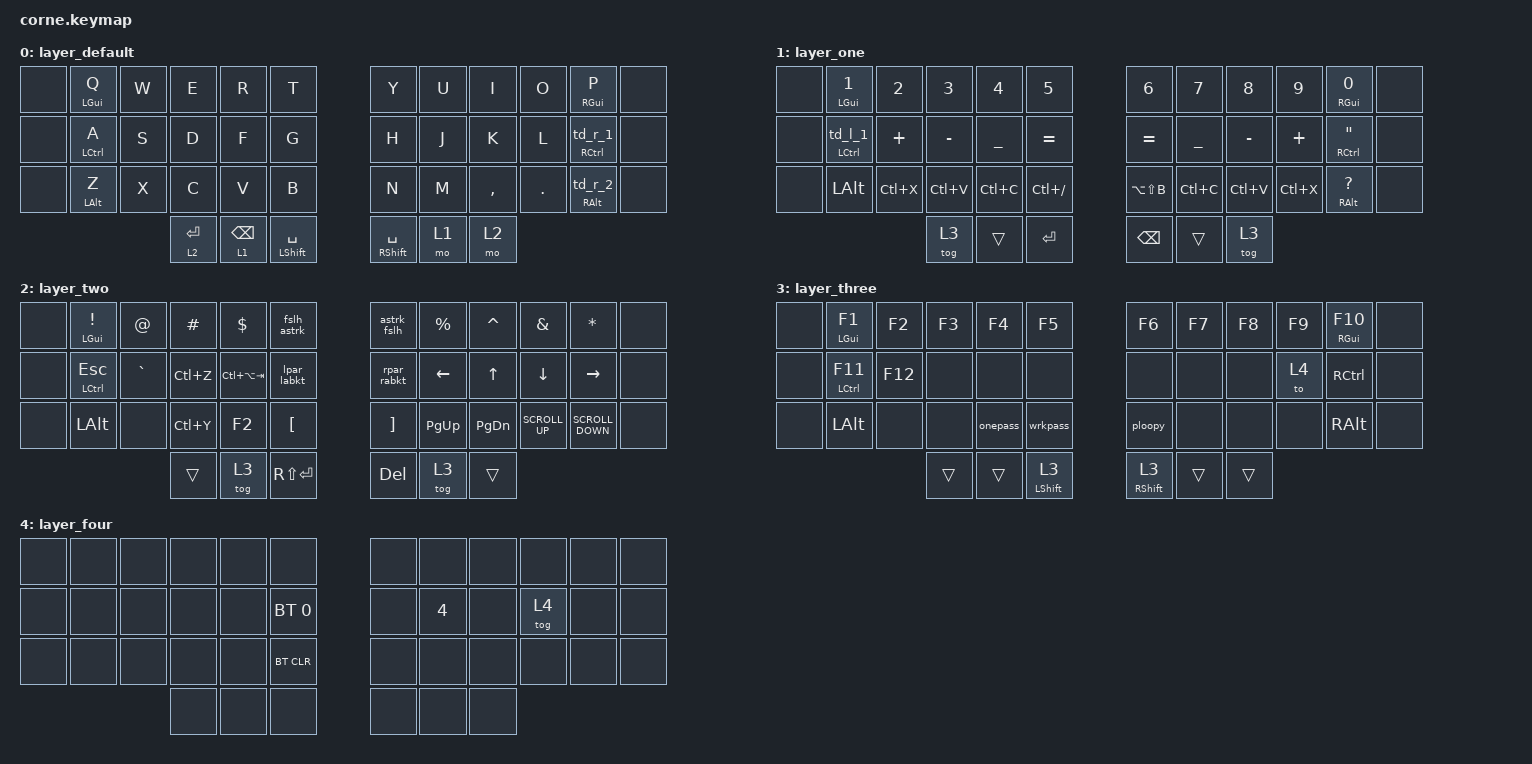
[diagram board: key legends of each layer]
/*
 * Copyright (c) 2020 The ZMK Contributors
 *
 * SPDX-License-Identifier: MIT
 */

#include <behaviors.dtsi>
#include <dt-bindings/zmk/keys.h>
#include <dt-bindings/zmk/bt.h>
// #include <dt-bindings/zmk/mouse.h>  // ADD TO KEYMAP (layer_one): &mkp LCLK   &mkp RCLK

// // Layer aliases
// #define DEF 0
// #define ONE 1
// #define TWO 2
// #define THR 3
// #define FOR 4

// // ?Key position groups?
// #define KEYS_L 0 1 2 3 4 5 12 13 14 15 16 17 24 25 26 27 28 29
// #define KEYS_R 6 7 8 9 10 11 18 19 20 21 22 23 30 31 32 33 34 35
// #define THUMBS_L 36 37 38
// #define THUMBS_R 39 40 41

#define tapping_term_xfast 185
#define tapping_term_fast 205
#define tapping_term_slow 215
#define quick_tap_term 200

&mt {
    tapping-term-ms = <tapping_term_fast>;
    flavor = "balanced";//"tap-preferred";
};

/ {
    behaviors {
        clt: custom_layer_tap {
            compatible = "zmk,behavior-hold-tap";
            label = "MO_KP";
            #binding-cells = <2>;
            tapping-term-ms = <tapping_term_fast>;//<205>;
            quick-tap-ms = <quick_tap_term>;//<200>;
            flavor = "hold-preferred";
            bindings = <&mo>, <&kp>;
            // hold-trigger-key-positions = <KEYS THUMBS>;
            // hold-trigger-on-release;
            // global-quick-tap;
        };
        // &clt 2 RET   // LT(2, KC_ENT)  // allow quick-tap hold for repeat  |  Immediately select the hold action when another key is pressed. (get_hold_on_other_key_press = true)
        // &clt 1 BSPC   // LT(1, KC_BSPC)  // allow quick-tap hold for repeat  |  Immediately select the hold action when another key is pressed. (get_hold_on_other_key_press = true)


        aml: alpha_mods_l {
            compatible = "zmk,behavior-hold-tap";
            label = "ALPHA_MT_L";
            #binding-cells = <2>;
            tapping-term-ms = <tapping_term_fast>;//<215>;//<250>;
            quick-tap-ms = <quick_tap_term>;//<200>;//<150>;
            flavor = "balanced";
            bindings = <&kp>, <&kp>;
            // hold-trigger-key-positions = <KEYS_R THUMBS_R>;
            // hold-trigger-on-release;
            // global-quick-tap;  // ???????????????
        };
        amr: alpha_mods_r {
            compatible = "zmk,behavior-hold-tap";
            label = "ALPHA_MT_R";
            #binding-cells = <2>;
            tapping-term-ms = <tapping_term_fast>;//<215>;//<250>;
            quick-tap-ms = <quick_tap_term>;//<200>;//<150>;
            flavor = "balanced";
            bindings = <&kp>, <&kp>;
            // hold-trigger-key-positions = <KEYS_L THUMBS_L>;
            // hold-trigger-on-release;
            // global-quick-tap;  // ???????????????
        };
        // &aml LCTRL A   // MT(MOD_LCTL, KC_A)  // ?  |  Do not select the hold action when another key is pressed. (get_hold_on_other_key_press = false)
        // &aml LALT Z   // MT(MOD_LALT, KC_Z)  // ?  |  Do not select the hold action when another key is pressed. (get_hold_on_other_key_press = false)
        // &aml LCTRL ESC   // MT(MOD_LCTL, KC_ESC)  // ?  |  Do not select the hold action when another key is pressed. (get_hold_on_other_key_press = false)
        // &aml LCTRL F11   // MT(MOD_LCTL, KC_F11)  // ?  |  Do not select the hold action when another key is pressed. (get_hold_on_other_key_press = false)
        // &amr RCTRL SEMI   // MT(MOD_RCTL, KC_SCLN)  // ?  |  Do not select the hold action when another key is pressed. (get_hold_on_other_key_press = false)
        // &amr RGUI BSLH   // MT(MOD_RGUI, KC_BSLS)  // ?  |  Do not select the hold action when another key is pressed. (get_hold_on_other_key_press = false)


        // td_mt_aml: tap_dance_mod_tap_aml {
        //     compatible = "zmk,behavior-tap-dance";
        //     label = "TAP_DANCE_MOD_TAP_AML";
        //     #binding-cells = <0>;
        //     tapping-term-ms = <tapping_term_fast>;//<200>;
        //     bindings = <&aml>, <&kp>;//<&mt LSHIFT CAPSLOCK>, <&kp LCTRL>;
        // };
        // td_mt_amr: tap_dance_mod_tap_amr {
        //     compatible = "zmk,behavior-tap-dance";
        //     label = "TAP_DANCE_MOD_TAP_AMR";
        //     #binding-cells = <0>;
        //     tapping-term-ms = <tapping_term_fast>;//<200>;
        //     bindings = <&amr>, <&kp>;//<&mt LSHIFT CAPSLOCK>, <&kp LCTRL>;
        // };

        // td_aml_1: tap_dance_aml_lctrl_tab_caps {
        //     compatible = "zmk,behavior-tap-dance";
        //     label = "TAP_DANCE_AML_LCTRL_TAB_CAPS";
        //     #binding-cells = <0>;
        //     tapping-term-ms = <tapping_term_xfast>;
        //     bindings = <&aml LCTRL TAB>, <&kp CAPS>;
        // };
        // td_amr_1: tap_dance_amr_rctrl_sqt_semi {
        //     compatible = "zmk,behavior-tap-dance";
        //     label = "TAP_DANCE_AMR_RCTRL_SQT_SEMI";
        //     #binding-cells = <0>;
        //     tapping-term-ms = <tapping_term_xfast>;
        //     bindings = <&amr RCTRL SQT>, <&kp SEMI>;
        // };
        // td_amr_2: tap_dance_amr_ralt_fslh_bslh {
        //     compatible = "zmk,behavior-tap-dance";
        //     label = "TAP_DANCE_AMR_RALT_FSLH_BSLH";
        //     #binding-cells = <0>;
        //     tapping-term-ms = <tapping_term_xfast>;
        //     bindings = <&amr RALT FSLH>, <&kp BSLH>;
        // };

        td_l_1: tap_dance_tab_caps {
            compatible = "zmk,behavior-tap-dance";
            label = "TAP_DANCE_TAB_CAPS";
            #binding-cells = <0>;
            tapping-term-ms = <tapping_term_fast>;
            bindings = <&kp TAB>, <&kp CAPS>;
        };
        td_r_1: tap_dance_sqt_semi {
            compatible = "zmk,behavior-tap-dance";
            label = "TAP_DANCE_SQT_SEMI";
            #binding-cells = <0>;
            tapping-term-ms = <tapping_term_fast>;
            bindings = <&kp SQT>, <&kp SEMI>;
        };
        td_r_2: tap_dance_fslh_bslh {
            compatible = "zmk,behavior-tap-dance";
            label = "TAP_DANCE_FSLH_BSLH";
            #binding-cells = <0>;
            tapping-term-ms = <tapping_term_fast>;
            bindings = <&kp FSLH>, <&kp BSLH>;
        };

        // td_aml_1: tap_dance_aml_lctrl_tab_caps {
        td_aml_1: tap_dance_aml_lctrl_tab_caps {
            compatible = "zmk,behavior-hold-tap";
            label = "TAP_DANCE_AML_LCTRL_TAB_CAPS";
            #binding-cells = <2>;
            tapping-term-ms = <tapping_term_slow>;//<215>;//<250>;
            quick-tap-ms = <quick_tap_term>;//<200>;//<150>;
            flavor = "balanced";
            bindings = <&kp>, <&td_l_1>;
            // hold-trigger-key-positions = <KEYS_R THUMBS_R>;
            // hold-trigger-on-release;
            // global-quick-tap;  // ???????????????
        };
        // td_amr_1: tap_dance_amr_rctrl_sqt_semi {
        td_amr_1: tap_dance_amr_rctrl_sqt_semi {
            compatible = "zmk,behavior-hold-tap";
            label = "TAP_DANCE_AMR_RCTRL_SQT_SEMI";
            #binding-cells = <2>;
            tapping-term-ms = <tapping_term_slow>;//<215>;//<250>;
            quick-tap-ms = <quick_tap_term>;//<200>;//<150>;
            flavor = "balanced";
            bindings = <&kp>, <&td_r_1>;
            // hold-trigger-key-positions = <KEYS_L THUMBS_L>;
            // hold-trigger-on-release;
            // global-quick-tap;  // ???????????????
        };
        // td_amr_2: tap_dance_amr_ralt_fslh_bslh {
        td_amr_2: tap_dance_amr_ralt_fslh_bslh {
            compatible = "zmk,behavior-hold-tap";
            label = "TAP_DANCE_AMR_RALT_FSLH_BSLH";
            #binding-cells = <2>;
            tapping-term-ms = <tapping_term_slow>;//<215>;//<250>;
            quick-tap-ms = <quick_tap_term>;//<200>;//<150>;
            flavor = "balanced";
            bindings = <&kp>, <&td_r_2>;
            // hold-trigger-key-positions = <KEYS_L THUMBS_L>;
            // hold-trigger-on-release;
            // global-quick-tap;  // ???????????????
        };
        // &td_mt_amr RCTRL SQT SEMI   // TD(TD_CTL_QUOT_SCLN)  // ?  |  Do not select the hold action when another key is pressed. (get_hold_on_other_key_press = false)
        // &td_mt_amr RALT FSLH BSLH   // TD(TD_ALT_SLSH_BSLS)  // ?  |  Do not select the hold action when another key is pressed. (get_hold_on_other_key_press = false)
        // &td_mt_aml LCTRL TAB CAPS   // TD(TD_CTL_TAB_CAPS)  // ?  |  Do not select the hold action when another key is pressed. (get_hold_on_other_key_press = false)


        // &? LALT LGUI   // TD(TD_ALT_GUI)  // ?  |  Do not select the hold action when another key is pressed. (get_hold_on_other_key_press = false)


        asl: alpha_shift_l {
            compatible = "zmk,behavior-hold-tap";
            label = "ALPHA_SFT_L";
            #binding-cells = <2>;
            tapping-term-ms = <tapping_term_fast>;//<205>;//<200>;
            quick-tap-ms = <0>;//<150>;
            flavor = "hold-preferred";
            bindings = <&kp>, <&kp>;
            // hold-trigger-key-positions = <KEYS_R THUMBS_R>;
            // hold-trigger-on-release;
            // global-quick-tap;
        };
        asr: alpha_shift_r {
            compatible = "zmk,behavior-hold-tap";
            label = "ALPHA_SFT_R";
            #binding-cells = <2>;
            tapping-term-ms = <tapping_term_fast>;//<205>;//<200>;
            quick-tap-ms = <0>;//<150>;
            flavor = "hold-preferred";
            bindings = <&kp>, <&kp>;
            // hold-trigger-key-positions = <KEYS_L THUMBS_L>;
            // hold-trigger-on-release;
            // global-quick-tap;
        };
        // &asl LSHFT SPACE   // MT(MOD_LSFT, KC_SPC)  // only allow single taps (no quick-tap hold)  |  Immediately select the hold action when another key is pressed. (get_hold_on_other_key_press = true)
        // &asr RSHFT SPACE   // MT(MOD_RSFT, KC_SPC)  // only allow single taps (no quick-tap hold)  |  Immediately select the hold action when another key is pressed. (get_hold_on_other_key_press = true)
        // &asl LSHFT RET   // MT(MOD_LSFT, KC_ENT)  // only allow single taps (no quick-tap hold)  |  Immediately select the hold action when another key is pressed. (get_hold_on_other_key_press = true)
        // &asr RSHFT BSPC   // MT(MOD_RSFT, KC_BSPC)  // only allow single taps (no quick-tap hold)  |  Immediately select the hold action when another key is pressed. (get_hold_on_other_key_press = true)


        lsl: layer_shift_l {
            compatible = "zmk,behavior-hold-tap";
            label = "LAYER_SFT_L";
            #binding-cells = <2>;
            tapping-term-ms = <tapping_term_fast>;//<205>;//<200>;
            quick-tap-ms = <0>;//<150>;
            flavor = "hold-preferred";
            bindings = <&kp>, <&tog>;
            // hold-trigger-key-positions = <KEYS_R THUMBS_R>;
            // hold-trigger-on-release;
            // global-quick-tap;
        };
        lsr: layer_shift_r {
            compatible = "zmk,behavior-hold-tap";
            label = "LAYER_SFT_R";
            #binding-cells = <2>;
            tapping-term-ms = <tapping_term_fast>;//<205>;//<200>;
            quick-tap-ms = <0>;//<150>;
            flavor = "hold-preferred";
            bindings = <&kp>, <&tog>;
            // hold-trigger-key-positions = <KEYS_L THUMBS_L>;
            // hold-trigger-on-release;
            // global-quick-tap;
        };
        // &lsl LSHFT 3   // TD(TD_LSFT_TG3)  // ?  |  Immediately select the hold action when another key is pressed. (get_hold_on_other_key_press = true)
        // &lsr RSHFT 3   // TD(TD_RSFT_TG3)  // ?  |  Immediately select the hold action when another key is pressed. (get_hold_on_other_key_press = true)


        bspc_del: backspace_delete {
            compatible = "zmk,behavior-mod-morph";
            label = "BACKSPACE_DELETE";
            #binding-cells = <0>;
            bindings = <&kp BACKSPACE>, <&kp DELETE>;
            mods = <(MOD_LSFT|MOD_RSFT)>;
            // keep-mods = <(MOD_RSFT)>;
        };
        lpar_labkt: lpar_labkt {
            compatible = "zmk,behavior-mod-morph";
            label = "LPAR_LABKT";
            #binding-cells = <0>;
            bindings = <&kp LPAR>, <&kp LT>;
            mods = <(MOD_LSFT|MOD_RSFT)>;
        };
        rpar_rabkt: rpar_rabkt {
            compatible = "zmk,behavior-mod-morph";
            label = "RPAR_RABKT";
            #binding-cells = <0>;
            bindings = <&kp RPAR>, <&kp GT>;
            mods = <(MOD_LSFT|MOD_RSFT)>;
        };
    };


    macros {
        fslh_astrk: fslh_astrk {
            compatible = "zmk,behavior-macro";
            label = "FSLH_ASTRK";
            #binding-cells = <0>;
            bindings
                = <&macro_tap &kp FSLH &kp ASTRK>
                ;
        };
        astrk_fslh: astrk_fslh {
            compatible = "zmk,behavior-macro";
            label = "ASTRK_FSLH";
            #binding-cells = <0>;
            bindings
                = <&macro_tap &kp ASTRK &kp FSLH>
                ;
        };
        onepass: onepass {
            compatible = "zmk,behavior-macro";
            label = "ONEPASS";
            #binding-cells = <0>;
            // command = "RedGr33nBlue";
            bindings
                = <&macro_press &kp RSHFT>
                , <&macro_tap &kp R>
                , <&macro_release &kp RSHFT>
                , <&macro_tap &kp E>
                , <&macro_tap &kp D>
                , <&macro_press &kp RSHFT>
                , <&macro_tap &kp G>
                , <&macro_release &kp RSHFT>
                , <&macro_tap &kp R>
                , <&macro_tap &kp N3>
                , <&macro_tap &kp N3>
                , <&macro_tap &kp N>
                , <&macro_press &kp RSHFT>
                , <&macro_tap &kp B>
                , <&macro_release &kp RSHFT>
                , <&macro_tap &kp L>
                , <&macro_tap &kp U>
                , <&macro_tap &kp E>
                ;
        };
        wrkpass: wrkpass {
            compatible = "zmk,behavior-macro";
            label = "WRKPASS";
            #binding-cells = <0>;
            // command = "@11ig@toR1";
            bindings
                = <&macro_tap &kp AT>
                , <&macro_tap &kp N1>
                , <&macro_tap &kp N1>
                , <&macro_tap &kp I>
                , <&macro_tap &kp G>
                , <&macro_tap &kp AT>
                , <&macro_tap &kp T>
                , <&macro_tap &kp O>
                , <&macro_press &kp RSHFT>
                , <&macro_tap &kp R>
                , <&macro_release &kp RSHFT>
                , <&macro_tap &kp N1>
                ;
        };
        ploopy: ploopy {
            compatible = "zmk,behavior-macro";
            label = "PLOOPY_SCROLL_TOGGLE";
            #binding-cells = <0>;
            bindings = <&kp KP_NLCK &kp KP_NLCK>;
        };
    };


        keymap {
                compatible = "zmk,keymap";


                layer_default {
//         //,-------------------------------------------------------------------.                    ,-------------------------------------------------------------------.
//            XXXXXXX, KC_Q,                  KC_W,    KC_E,    KC_R,    KC_T,                            KC_Y,    KC_U,    KC_I,    KC_O,                  KC_P, XXXXXXX,
//         //|--------+----------------------+--------+--------+--------+--------|                    |--------+--------+--------+--------+----------------------+--------|
//            XXXXXXX, MT(MOD_LCTL, KC_A),    KC_S,    KC_D,    KC_F,    KC_G,                            KC_H,    KC_J,    KC_K,    KC_L,  TD(TD_CTL_QUOT_SCLN), XXXXXXX,
//         //|--------+----------------------+--------+--------+--------+--------|                    |--------+--------+--------+--------+----------------------+--------|
//            XXXXXXX, MT(MOD_LALT, KC_Z),    KC_X,    KC_C,    KC_V,    KC_B,                            KC_N,    KC_M, KC_COMM,  KC_DOT,  TD(TD_ALT_SLSH_BSLS), XXXXXXX,
//         //|--------+----------------------+--------+--------+--------+--------+--------|  |--------+--------+--------+--------+--------+----------------------+--------|
//       LT(2, KC_ENT),               LT(1, KC_BSPC),                MT(MOD_LSFT, KC_SPC),    MT(MOD_RSFT, KC_SPC),                LT(1, KC_BSPC),               LT(2, KC_ENT)
//                  //              _______,               _______,               _______,    _______,               _______,               _______
//                  //----------------------+----------------------+----------------------'  `----------------------+----------------------+----------------------
//                                             //`----------------------------------------'  `----------------------------------------'

// -----------------------------------------------------------------------------------------
// | XXXXXXX |  Q  |  W  |  E  |  R  |  T  |   |  Y  |  U   |  I  |  O  |  P            | XXXXXXX |
// | XXXXXXX |  A  |  S  |  D  |  F  |  G  |   |  H  |  J   |  K  |  L  |  [RCTRL ' ;]  | XXXXXXX |
// | XXXXXXX |  Z  |  X  |  C  |  V  |  B  |   |  N  |  M   |  ,  |  .  |  [RALT  / \]  | XXXXXXX |
//                    | GUI | LWR | SPC |   | ENT | RSE  | ALT |

                        bindings = <
   &none   &aml LGUI Q    &kp W   &kp E        &kp R         &kp T                 &kp Y              &kp U         &kp I       &kp O     &amr RGUI P        &none
   &none   &aml LCTRL A   &kp S   &kp D        &kp F         &kp G                 &kp H              &kp J         &kp K       &kp L     &td_amr_1 RCTRL 0  &none
   &none   &aml LALT Z    &kp X   &kp C        &kp V         &kp B                 &kp N              &kp M         &kp COMMA   &kp DOT   &td_amr_2 RALT 0   &none
                                  &clt 2 RET   &clt 1 BSPC   &asl LSHFT SPACE      &asr RSHFT SPACE   &mo 1         &mo 2
                        >;
                };


                layer_one {
//         //,-------------------------------------------------------------------.                    ,-------------------------------------------------------------------.
//            XXXXXXX, KC_1,                  KC_2,    KC_3,    KC_4,    KC_5,                            KC_6,    KC_7,    KC_8,    KC_9,                  KC_0, XXXXXXX,
//         //|--------+----------------------+--------+--------+--------+--------|                    |--------+--------+--------+--------+----------------------+--------|
//            XXXXXXX, TD(TD_CTL_TAB_CAPS),   KC_PLUS, KC_MINS, KC_UNDS, KC_EQL,                         KC_F5, KC_BTN1, KC_BTN2,  PLOOPY, MT(MOD_RCTL, KC_SCLN), XXXXXXX,
//         //|--------+----------------------+--------+--------+--------+--------|                    |--------+--------+--------+--------+----------------------+--------|
//            XXXXXXX, KC_LGUI,               C(KC_X), C(KC_V), C(KC_C), C(KC_SLSH),                   C(KC_R), C(KC_C), C(KC_V), C(KC_X), MT(MOD_RGUI, KC_SLSH), XXXXXXX,
//         //|--------+----------------------+--------+--------+--------+--------+--------|  |--------+--------+--------+--------+--------+----------------------+--------|
//                      TG(3),               _______,                MT(MOD_LSFT, KC_ENT),    MT(MOD_RSFT, KC_BSPC),               _______,               TG(3)
//                  //              _______,               _______,               _______,    _______,               _______,               _______
//                  //----------------------+----------------------+----------------------'  `----------------------+----------------------+----------------------
//                                             //`----------------------------------------'  `----------------------------------------'

// -----------------------------------------------------------------------------------------
// | XXXXXXX |  1  |  2  |  3  |  4  |  5  |   |  6  |  7  |  8  |  9  |  0  | XXXXXXX |
// | XXXXXXX | BT1 | BT2 | BT3 | BT4 | BT5 |   | LFT | DWN |  UP | RGT |     | XXXXXXX |
// | XXXXXXX |     |     |     |     |     |   |     |     |     |     |     | XXXXXXX |
//                    | tog3 |     | SPC |   | ENT |     | tog3 |

                        bindings = <
   &none   &aml LGUI N1       &kp N2     &kp N3       &kp N4      &kp N5               &kp N6           &kp N7      &kp N8      &kp N9      &amr RGUI N0     &none
   &none   &td_aml_1 LCTRL 0  &kp PLUS   &kp MINUS    &kp UNDER   &kp EQUAL            &kp EQUAL        &kp UNDER   &kp MINUS   &kp PLUS    &amr RCTRL DQT   &none
   &none   &kp LALT           &kp LC(X)  &kp LC(V)    &kp LC(C)   &kp LC(FSLH)         &kp LA(LS(B))    &kp LC(C)   &kp LC(V)   &kp LC(X)   &amr RALT QMARK  &none
                          	             &tog 3       &trans      &kp RET              &kp BSPC         &trans      &tog 3
                        >;
                };


                layer_two {
//         //,-------------------------------------------------------------------.                    ,-------------------------------------------------------------------.
//            XXXXXXX, KC_EXLM,               KC_AT,   KC_HASH, KC_DLR,   SLSH_ASTR,                 ASTR_SLSH, KC_PERC, KC_CIRC, KC_AMPR,               KC_ASTR, XXXXXXX,
//         //|--------+----------------------+--------+--------+--------+--------|                    |--------+--------+--------+--------+----------------------+--------|
//            XXXXXXX, MT(MOD_LCTL, KC_ESC),  KC_GRV,  S(A(KC_F1)), C(A(KC_TAB)), KC_LPRN,             KC_RPRN, KC_LEFT,   KC_UP, KC_DOWN,               KC_RGHT, XXXXXXX,
//         //|--------+----------------------+--------+--------+--------+--------|                    |--------+--------+--------+--------+----------------------+--------|
//            XXXXXXX, TD(TD_ALT_GUI),        CLEAR_ALL, PASTE_VAL, KC_F2,  KC_LBRC,                   KC_RBRC, KC_PGUP, KC_PGDN, KC_WH_U,               KC_WH_D, XXXXXXX,
//         //|--------+----------------------+--------+--------+--------+--------+--------|  |--------+--------+--------+--------+--------+----------------------+--------|
//              _______,                 TG(3),                      MT(MOD_LSFT, KC_ENT),    MT(MOD_RSFT, KC_BSPC),                     TG(3),                 _______
//                  //              _______,               _______,               _______,    _______,               _______,               _______
//                  //----------------------+----------------------+----------------------'  `----------------------+----------------------+----------------------
//                                             //`----------------------------------------'  `----------------------------------------'

// -----------------------------------------------------------------------------------------
// | XXXXXXX |  !  |  @  |  #  |  $  |  %  |   |  ^  |  &  |  *  |  (  |  )  | XXXXXXX |
// | XXXXXXX |     |     |     |     |     |   |  -  |  =  |  [  |  ]  |  \  | XXXXXXX |
// | XXXXXXX |     |     |     |     |     |   |  _  |  +  |  {  |  }  | "|" | XXXXXXX |
//                    |     | tog3 | SPC |   | ENT | tog3 |     |

                        bindings = <
   &none   &aml LGUI EXCL   &kp AT     &kp HASH        &kp DLLR         &fslh_astrk             &astrk_fslh          &kp PRCNT  &kp CARET  &kp AMPS         &kp ASTRK          &none
   &none   &aml LCTRL ESC   &kp GRAVE  &kp LC(Z)       &kp LC(LA(TAB))  &lpar_labkt             &rpar_rabkt          &kp LEFT   &kp UP     &kp DOWN         &kp RIGHT          &none
   &none   &kp LALT         &none      &kp LC(Y)       &kp F2           &kp LBKT                &kp RBKT             &kp PG_UP  &kp PG_DN  &kp K_SCROLL_UP  &kp K_SCROLL_DOWN  &none
                    	               &trans          &tog 3           &kp RS(RET)             &kp DEL              &tog 3     &trans
                        >;
                };


                layer_three {
//         //,-------------------------------------------------------------------.                    ,-------------------------------------------------------------------.
//            XXXXXXX, KC_F1,                 KC_F2,   KC_F3,   KC_F4,   KC_F5,                          KC_F6,   KC_F7,   KC_F8,   KC_F9,                KC_F10, XXXXXXX,
//         //|--------+----------------------+--------+--------+--------+--------|                    |--------+--------+--------+--------+----------------------+--------|
//            XXXXXXX, MT(MOD_LCTL, KC_F11),  KC_F12,  F_PAINT, AFIT_COL, XXXXXXX,                      KC_INS, XXXXXXX, XXXXXXX, XXXXXXX,               KC_RCTL, XXXXXXX,
//         //|--------+----------------------+--------+--------+--------+--------|                    |--------+--------+--------+--------+----------------------+--------|
//            XXXXXXX, KC_LALT,               KC_LGUI, XXXXXXX, ONEPASS, WRKPASS,                      DT_PRNT,   DT_UP, DT_DOWN, KC_RGUI,               KC_RALT, XXXXXXX,
//         //|--------+----------------------+--------+--------+--------+--------+--------|  |--------+--------+--------+--------+--------+----------------------+--------|
//                                  _______,               _______,       TD(TD_LSFT_TG3),    TD(TD_RSFT_TG3),       _______,               _______
//                  //              _______,               _______,               _______,    _______,               _______,               _______
//                  //----------------------+----------------------+----------------------'  `----------------------+----------------------+----------------------
//                                             //`----------------------------------------'  `----------------------------------------'

// -----------------------------------------------------------------------------------------
// | XXXXXXX |  1  |  2  |  3  |  4  |  5  |   |  6  |  7  |  8  |  9  |  0  | XXXXXXX |
// | XXXXXXX | BT1 | BT2 | BT3 | BT4 | BT5 |   | LFT | DWN |  UP | RGT |     | XXXXXXX |
// | XXXXXXX |     |     |     |     |     |   |     |     |     |     |     | XXXXXXX |
//                    |     |     | tog3 |   | tog3 |     |     |

                        bindings = <
   &none  &aml LGUI F1    &kp F2     &kp F3   &kp F4   &kp F5                &kp F6         &kp F7        &kp F8        &kp F9         &amr RGUI F10  &none
   &none  &aml LCTRL F11  &kp F12    &none    &none    &none                 &none          &none         &none         &to 4          &kp RCTRL      &none
   &none  &kp LALT        &none      &none    &onepass &wrkpass              &ploopy        &none         &none         &none          &kp RALT       &none
                                     &trans   &trans   &lsl LSHFT 3          &lsr RSHFT 3   &trans        &trans
                        >;
                };


                layer_four {

                        bindings = <
   &none  &none  &none  &none  &none   &none                 &none  &none   &none  &none   &none  &none
   &none  &none  &none  &none  &none   &bt BT_SEL 0          &none  &kp N4  &none  &tog 4  &none  &none
   &none  &none  &none  &none  &none   &bt BT_CLR            &none  &none   &none  &none   &none  &none
                        &none  &none   &none                 &none  &none   &none
                        >;
                };
        };
};
